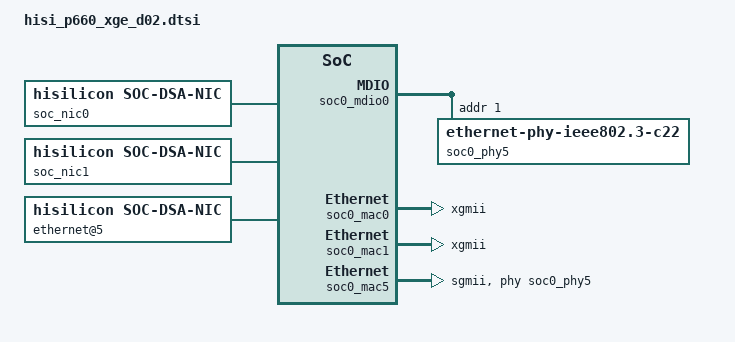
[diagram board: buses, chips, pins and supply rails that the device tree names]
soc0: soc@000000000 {
           #address-cells = <2>;
           #size-cells = <2>;
           device_type = "soc";
           compatible = "simple-bus";
           ranges = <0x0 0x0 0x0 0x0 0x1 0x0>;
           chip-id = <0>;
   
           soc0_mdio0: mdio@803c0000 {
                  #address-cells = <1>;
                  #size-cells = <0>;
                  compatible = "hisilicon,mdio";
                  reg = <0x0 0x803c0000 0x0 0x10000>;
                  irq-num = <9383>;
  
                 soc0_phy5: ethernet-phy@5 {
                          reg = <0x1>;
                          device_type = "ethernet-phy";
                          compatible = "ethernet-phy-ieee802.3-c22";
                  };
          };
  
          soc0_dsa: dsa@c7000000 {
                  compatible = "hisilicon,dsa";
                  reg = <0x0 0xc7000000 0x0 0x40000>;
                  interrupt-parent = <&mbigen_dsa>;
                  interrupts = <131 4>, <132 4>,
                               <133 4>, <134 4>,
                               <135 4>, <136 4>,
                               <137 4>, <138 4>,
                               <139 4>, <140 4>,
                               <141 4>, <142 4>,
                               <143 4>, <144 4>,
                               <145 4>, <146 4>,
                               <147 4>, <148 4>;
                  irq-num = <13059>;
                  dsa-mode = <12>;
                  cdev-no = <200>;
                  m3-enable = <0>;
          };
  
	soc0_mac0: ethernet-mac@c7040000 {
		mac-index = <0>;
		compatible = "hisilicon,mac-multi";
		reg = <0x0 0xc7040000 0x0 0x4000
		       0x0 0xc7020000 0x0 0x4000
		       0x0 0xC0000000 0x0 0x10000
		       0x0 0xC2200000 0x0 0x100000
		       0x0 0x98000036 0x0 0x1>;
		irq-num = <13077>;
		phy-connection-type = "xgmii";
		fixed-link = <16 1 10000 0 1>;
	};
	soc0_mac1: ethernet-mac@c7044000 {
		mac-index = <1>;
		compatible = "hisilicon,mac-multi";
		reg = <0x0 0xc7044000 0x0 0x4000
		       0x0 0xc7024000 0x0 0x4000
		       0x0 0xC0000000 0x0 0x10000
		       0x0 0xC2200000 0x0 0x100000
		       0x0 0x98000038 0x0 0x1>;
		irq-num = <13078>;
		phy-connection-type = "xgmii";
		fixed-link = <17 1 10000 0 1>;
	};
          soc0_mac5: ethernet-mac@c7054000 {
                  mac-index = <5>;
                  compatible = "hisilicon,mac-multi";
                  reg = <0x0 0xc7054000 0x0 0x4000
                          0x0 0xc7034000 0x0 0x4000
                          0x0 0xC0000000 0x0 0x10000
                          0x0 0xC2200000 0x0 0x100000>;
                          irq-num = <13082>;
                          phy-connection-type = "sgmii";
                          phy-handle = <&soc0_phy5>;
          };
  
          soc0_ppe0:ppe@c5070000 {
                  #address-cells = <2>;
                  #size-cells = <1>;
                  compatible = "hisilicon,ppe-multi";
                  ranges = <0x0 0x0 0x0 0x0 0xffffffff>;
                  reg = <0x0 0xc5070000 0x0 0x10000>;
                  ppe-common-index = <0>;
		  soc0_ppe_group0:ppe-group@c5000000 {
			compatible = "hisilicon,ppe-group";
			reg = <0x0 0xc5000000 0x10000>;
			irq-num = <12928>;
			ppe-num = <1>;
		  };
  
  	        soc0_ppe_group1:ppe-group@c5010000 {
			compatible = "hisilicon,ppe-group";
			reg = <0x0 0xc5010000 0x10000>;
			irq-num = <12929>;
			ppe-num = <1>;
		};
                  soc0_ppe_group5:ppe-group@c5050000 {   
                            compatible = "hisilicon,ppe-group";
                          reg = <0x0 0xc5050000 0x10000>;
                          irq-num = <12933>;
                          ppe-num = <1>;
                  };
          };
  
          soc0_rcb0:rcb@c5080000 {
                  #address-cells = <2>;
                  #size-cells = <1>;
                  compatible = "hisilicon,rcb","hisilicon,rcb-multi";
                  ranges = <0x0 0x0 0x0 0x0 0xffffffff>;
                  reg = <0x0 0xc5080000 0x0 0x10000>;
                  irq-num = <12934>;
	
	
	
	
	soc0_rcb_group0:rcb-group@c5090000 {
			compatible = "hisilicon,rcb-group";
			reg = <0x0 0xc5090000 0x100000>;
			interrupt-parent = <&mbigen_dsa>;
			interrupts = <384 1>, <385 1>,
                        		<386 1>, <387 1>,
                                       <388 1>, <389 1>,
                                       <390 1>, <391 1>,
                                       <392 1>, <393 1>,
                                       <394 1>, <395 1>,
                                       <396 1>, <397 1>,
                                       <398 1>, <399 1>,
                                       <400 1>, <401 1>,
                                       <402 1>, <403 1>,
                                       <404 1>, <405 1>,
                                       <406 1>, <407 1>,
                                       <408 1>, <409 1>,
                                       <410 1>, <411 1>,
                                       <412 1>, <413 1>,
                                       <414 1>, <415 1>;
			irq-num = <13312>;
			buf-size = <2048>;
			desc-num = <1024>;
		};
		soc0_rcb_group1:rcb-group@c5190000 {
			compatible = "hisilicon,rcb-group";
			reg = <0x0 0xc5190000 0x100000>;
			interrupt-parent = <&mbigen_dsa>;
			interrupts = <416 1>, <417 1>,
                        		<418 1>, <419 1>,
                                       <420 1>, <421 1>,
                                       <422 1>, <423 1>,
                                       <424 1>, <425 1>,
                                       <426 1>, <427 1>,
                                       <428 1>, <429 1>,
                                       <430 1>, <431 1>,
                                       <432 1>, <433 1>,
                                       <434 1>, <435 1>,
                                       <436 1>, <437 1>,
                                       <438 1>, <439 1>,
                                       <440 1>, <441 1>,
                                       <442 1>, <443 1>,
                                       <444 1>, <445 1>,
                                       <446 1>, <447 1>;
			irq-num = <13344>;
			buf-size = <2048>;
			desc-num = <1024>;
		};
                  soc0_rcb_group5:rcb-group@c5590000 {
                          compatible = "hisilicon,rcb-group";
                          reg = <0x0 0xc5590000 0x100000>;
                          interrupt-parent = <&mbigen_dsa>;
                          interrupts = <544 1>, <545 1>,
                                       <546 1>, <547 1>,
                                       <548 1>, <549 1>,
                                       <550 1>, <551 1>,
                                       <552 1>, <553 1>,
                                       <554 1>, <555 1>,
                                       <556 1>, <557 1>,
                                       <558 1>, <559 1>,
                                       <560 1>, <561 1>,
                                       <562 1>, <563 1>,
                                       <564 1>, <565 1>,
                                       <566 1>, <567 1>,
                                       <568 1>, <569 1>,
                                       <570 1>, <571 1>,
                                       <572 1>, <573 1>,
                                       <574 1>, <575 1>;
                          irq-num = <13472>;
                          buf-size = <2048>;
                          desc-num = <1024>;
                 };
         };
 
	soc_nic0:ethernet@0 {
		compatible = "hisilicon,soc-dsa-nic";
		mac-handle = <&soc0_mac0>;
		nic-id = <0>;
		ppe-group-handle = <&soc0_ppe_group0>;
		rcb-group-handle = <&soc0_rcb_group0>;
		local-mac-address = [00 00 00 01 00 5A];
		dma-coherent;
	};
	
	soc_nic1:ethernet@1 {
		compatible = "hisilicon,soc-dsa-nic";
		mac-handle = <&soc0_mac1>;
		nic-id = <1>;
		ppe-group-handle = <&soc0_ppe_group1>;
		rcb-group-handle = <&soc0_rcb_group1>;
		local-mac-address = [00 00 00 01 00 5B];
		dma-coherent;
	};
        ethernet@5 {
                 compatible = "hisilicon,soc-dsa-nic";
                 mac-handle = <&soc0_mac5>;
                 nic-id = <5>;
                 ppe-group-handle = <&soc0_ppe_group5>;
                 rcb-group-handle = <&soc0_rcb_group5>;
                 local-mac-address = [00 00 00 01 00 5F];
                         /* bus_id,  chip_addr,  sub_addr*/
                 iic-ctl-eeprom-addr = <0x00 0x51 0xc1e>;
                 dma-coherent;
         };        
         rocee@0xc4000000 {
        	compatible = "hisilicon,roce";
        	reg = <0x0 0xc4000000 0x0 0x100000>;
        	nic-handle = <&soc_nic0 &soc_nic1>;
		interrupt-parent = <&mbigen_dsa>;
	        interrupts = <64 1>, <65 1>,
	                     <66 1>, <67 1>,
	                     <68 1>, <69 1>,
	                     <70 1>, <71 1>,
	                     <72 1>, <73 1>,
	                     <74 1>, <75 1>,
	                     <76 1>, <77 1>,
	                     <78 1>, <79 1>,
	                     <80 1>, <81 1>,
	                     <82 1>, <83 1>,
	                     <84 1>, <85 1>,
	                     <86 1>, <87 1>,
	                     <88 1>, <89 1>,
	                     <90 1>, <91 1>,
	                     <92 1>, <93 1>,
	                     <94 1>, <95 1>,
	 		     <96 1>;
	 
	        irq-num = <12992>;
	        cmd-mode = <0>;			/* 0: polling; 1: event */
	        sdb-ext-mode = <1>;		/* 0: polling; 1: event */
	        sdb-evt-mode = <1>;		/* 0: normal; 1: extend */
	        odb-ext-mode = <1>;		/* 0: polling; 1: event */
	        odb-evt-mode = <1>;		/* 0: normal; 1: extend */
	        lp-indicator = <1>;
		dma-coherent;
    	};  
};
                                                                
